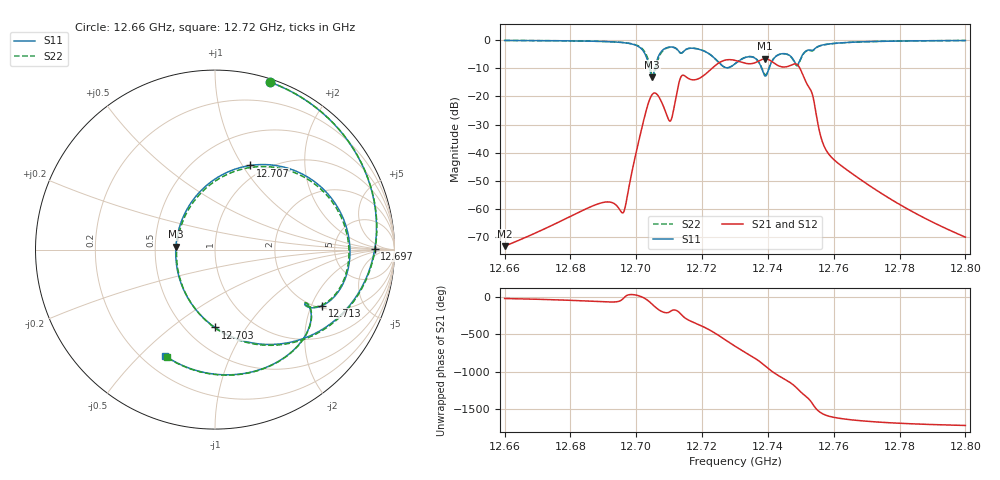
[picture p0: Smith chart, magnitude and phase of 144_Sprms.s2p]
! TOUCHSTONE file generated by CST MICROWAVE STUDIO
! Date and time: Wed Jul 31 18:05:41 2024
! Project name: WaveGuide_BPF-Ver4.1_U-shape_Ku_T3_C4_CWA_2.cst
! Parameters = {cavity_h=16; cavity_l0=10; cavity_l1=15.1909; cavity_l2=16.8412; cavity_l3=17.1276; cavity_l4=17.2726; cavity_l5=17.099; cavity_l6=17.5949; cavity_r=2.5; cavity_screw_l=0.5; cavity_screw_r=1.5; cavity_w=8; iris_h00=0; iris_h01=8.8259; iris_h112=0; iris_h12=5.5898; iris_h211=3.6559; i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
! Header version: 2018
! Port assignment regex: !\s*Touchstone port\s*([0-9]+)\s*=\s*(CST MWS port|CST DS port)\s*([0-9]+|Zmin|Zmax)\s*\(\"(.*)\"\)(\s*mode\s*([0-9]+))?.*
! Touchstone port assignment:
! Touchstone port 1 = CST MWS port 1 ("")
! Touchstone port 2 = CST MWS port 2 ("")
# GHz S RI R 50
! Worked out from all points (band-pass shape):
!   5001 points, 12.66 GHz to 12.8 GHz, reference 50 ohm
!   highest |S21| = -6.61 dB at 12.739 GHz (marker M1); lowest = -73.2 dB at 12.66 GHz (marker M2)
!   |S21| within 3 dB of the highest: 12.72344 GHz to 12.74952 GHz (26.08 MHz wide, 0.205 % of centre)
!   lowest |S11| = -13.2 dB at 12.705 GHz (marker M3), VSWR 1.56, Z = 32.1 + j1.04 ohm
!   |S11| at or under -10 dB: 12.70402 GHz to 12.70564 GHz (1.623 MHz wide, 0.0128 % of centre); 12.73808 GHz to 12.74036 GHz (2.274 MHz wide, 0.0178 % of centre)
!   |S22| runs from -13.4 to -0.2 dB; largest |S21 - S12| = 1.4e-09
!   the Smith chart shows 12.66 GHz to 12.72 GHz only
!   S11 on the Smith chart (normalised r, x): 12.66 GHz: 0.03, +1.38; 12.697 GHz: 17, +1; 12.703 GHz: 0.68, -0.73; 12.707 GHz: 0.86, +1.08; 12.713 GHz: 2.11, -2.41; 12.72 GHz: 0.29, -0.60
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12.66  0.3038 0.9336  0.000203 -8.22e-05  0.000203 -8.22e-05  0.309 0.9319
12.68335  0.7084 0.6481  0.000564 -0.00073  0.000564 -0.00073  0.7112 0.6455
12.69665  0.8903 0.00547  0.00109 8.97e-05  0.00109 8.97e-05  0.8939 0.0137
12.70343  -0.000301 -0.4337  0.0479 -0.0483  0.0479 -0.0483  0.0699 -0.4783
12.70483  -0.2178 0.0155  -0.0153 -0.1065  -0.0153 -0.1065  -0.2108 -0.0835
12.70668  0.1885 0.4675  -0.0996 -0.0218  -0.0996 -0.0218  0.1277 0.4418
12.7067  0.1969 0.4688  -0.0994 -0.0201  -0.0994 -0.0201  0.1363 0.4444
12.71023  0.7504 0.0274  -0.0344 0.0113  -0.0344 0.0113  0.7432 0.0377
12.7125  0.5984 -0.3117  -0.1292 0.0211  -0.1292 0.0211  0.597 -0.308
12.72009  -0.2771 -0.5925  0.1875 -0.1246  0.1875 -0.1246  -0.2674 -0.6006
12.72278  -0.5274 -0.0768  -0.0254 -0.3043  -0.0254 -0.3043  -0.5281 -0.0941
12.72546  -0.146 0.349  -0.3954 -0.083  -0.3954 -0.083  -0.1616 0.3435
12.73  0.2955 -0.2347  0.2142 0.3789  0.2142 0.3789  0.3083 -0.2215
12.73557  -0.4898 -0.0545  0.0184 -0.3857  0.0184 -0.3857  -0.4874 -0.0968
12.73918  -0.1931 0.1233  -0.4257 0.192  -0.4257 0.192  -0.2139 0.1108
12.74114  -0.3466 0.2158  0.0256 0.4149  0.0256 0.4149  -0.3651 0.1939
12.74467  0.1197 0.5604  0.3269 -0.0569  0.3269 -0.0569  0.0776 0.5653
12.74929  0.3501 0.1595  -0.3285 -0.1089  -0.3285 -0.1089  0.3247 0.175
12.75335  0.5803 -0.3034  0.1058 0.0469  0.1058 0.0469  0.578 -0.277
12.75842  0.1898 -0.8274  -0.00856 -0.00422  -0.00856 -0.00422  0.2011 -0.8212
12.77668  -0.8781 -0.3704  -0.000737 0.00139  -0.000737 0.00139  -0.8797 -0.3663
12.8  -0.957 0.2069  4.9e-05 0.000313  4.9e-05 0.000313  -0.9558 0.2123
